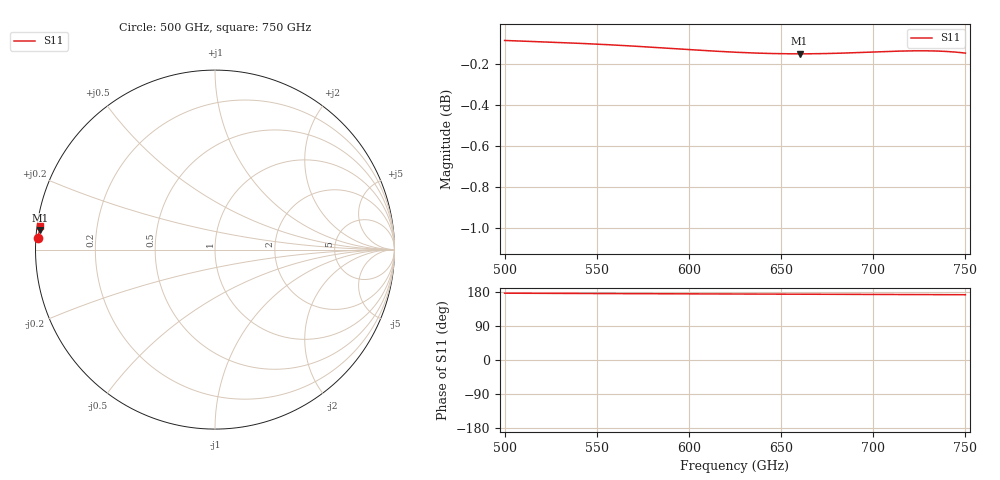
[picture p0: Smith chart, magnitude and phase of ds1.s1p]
!Created with skrf (http://scikit-rf.org).
# GHz S RI R 50.0
!freq ReS11 ImS11
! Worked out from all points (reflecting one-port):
!   401 points, 500 GHz to 750 GHz, reference 50 ohm
!   lowest |S11| = -0.2 dB at 660 GHz (marker M1), VSWR 113.93, Z = 0.44 + j2.77 ohm
!   phase of S11 starts at 176 deg and turns -4 deg over the sweep
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500  -0.9879 0.064
501.25  -0.9878 0.0643
505  -0.9876 0.0652
513.75  -0.9871 0.0674
521.875  -0.9867 0.0697
531.25  -0.9861 0.0725
543.75  -0.9853 0.0765
562.5  -0.9838 0.0826
580  -0.9823 0.0883
593.75  -0.981 0.0925
601.875  -0.9802 0.0949
609.375  -0.9796 0.097
616.875  -0.9789 0.099
625  -0.9783 0.101
641.25  -0.9773 0.1048
656.25  -0.9767 0.1079
660  -0.9766 0.1087
673.125  -0.9764 0.1113
687.5  -0.9765 0.1143
696.25  -0.9766 0.1163
704.375  -0.9766 0.1183
711.875  -0.9767 0.1202
718.75  -0.9766 0.1222
727.5  -0.9763 0.1249
735  -0.9758 0.1274
741.875  -0.9751 0.13
748.75  -0.9742 0.1326
750  -0.9739 0.1332
